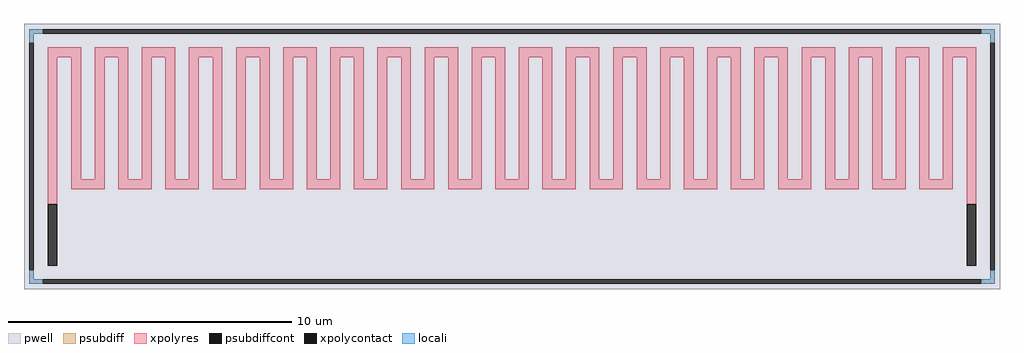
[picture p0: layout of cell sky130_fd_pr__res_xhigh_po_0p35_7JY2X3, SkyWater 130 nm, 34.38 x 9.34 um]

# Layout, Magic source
magic
tech sky130A
<< pwell >>
rect -1719 -467 1719 467
<< psubdiff >>
rect -1701 432 -1653 449
rect 1653 432 1701 449
rect -1701 401 -1684 432
rect 1684 401 1701 432
rect -1701 -432 -1684 -401
rect 1684 -432 1701 -401
rect -1701 -449 -1653 -432
rect 1653 -449 1701 -432
<< psubdiffcont >>
rect -1653 432 1653 449
rect -1701 -401 -1684 401
rect 1684 -401 1701 401
rect -1653 -449 1653 -432
<< xpolycontact >>
rect -1636 -384 -1601 -168
rect 1601 -384 1636 -168
<< xpolyres >>
rect -1636 349 -1518 384
rect -1636 -168 -1601 349
rect -1553 -81 -1518 349
rect -1470 349 -1352 384
rect -1470 -81 -1435 349
rect -1553 -116 -1435 -81
rect -1387 -81 -1352 349
rect -1304 349 -1186 384
rect -1304 -81 -1269 349
rect -1387 -116 -1269 -81
rect -1221 -81 -1186 349
rect -1138 349 -1020 384
rect -1138 -81 -1103 349
rect -1221 -116 -1103 -81
rect -1055 -81 -1020 349
rect -972 349 -854 384
rect -972 -81 -937 349
rect -1055 -116 -937 -81
rect -889 -81 -854 349
rect -806 349 -688 384
rect -806 -81 -771 349
rect -889 -116 -771 -81
rect -723 -81 -688 349
rect -640 349 -522 384
rect -640 -81 -605 349
rect -723 -116 -605 -81
rect -557 -81 -522 349
rect -474 349 -356 384
rect -474 -81 -439 349
rect -557 -116 -439 -81
rect -391 -81 -356 349
rect -308 349 -190 384
rect -308 -81 -273 349
rect -391 -116 -273 -81
rect -225 -81 -190 349
rect -142 349 -24 384
rect -142 -81 -107 349
rect -225 -116 -107 -81
rect -59 -81 -24 349
rect 24 349 142 384
rect 24 -81 59 349
rect -59 -116 59 -81
rect 107 -81 142 349
rect 190 349 308 384
rect 190 -81 225 349
rect 107 -116 225 -81
rect 273 -81 308 349
rect 356 349 474 384
rect 356 -81 391 349
rect 273 -116 391 -81
rect 439 -81 474 349
rect 522 349 640 384
rect 522 -81 557 349
rect 439 -116 557 -81
rect 605 -81 640 349
rect 688 349 806 384
rect 688 -81 723 349
rect 605 -116 723 -81
rect 771 -81 806 349
rect 854 349 972 384
rect 854 -81 889 349
rect 771 -116 889 -81
rect 937 -81 972 349
rect 1020 349 1138 384
rect 1020 -81 1055 349
rect 937 -116 1055 -81
rect 1103 -81 1138 349
rect 1186 349 1304 384
rect 1186 -81 1221 349
rect 1103 -116 1221 -81
rect 1269 -81 1304 349
rect 1352 349 1470 384
rect 1352 -81 1387 349
rect 1269 -116 1387 -81
rect 1435 -81 1470 349
rect 1518 349 1636 384
rect 1518 -81 1553 349
rect 1435 -116 1553 -81
rect 1601 -168 1636 349
<< locali >>
rect -1701 432 -1653 449
rect 1653 432 1701 449
rect -1701 401 -1684 432
rect 1684 401 1701 432
rect -1701 -432 -1684 -401
rect 1684 -432 1701 -401
rect -1701 -449 -1653 -432
rect 1653 -449 1701 -432
<< properties >>
string FIXED_BBOX -1692 -440 1692 440
string gencell sky130_fd_pr__res_xhigh_po_0p35
string library sky130
string parameters w 0.35 l 5 m 1 nx 40 wmin 0.350 lmin 0.50 rho 2000 val 1.221meg dummy 0 dw 0.0 term 188.2 sterm 0.0 caplen 0 wmax 0.350 guard 1 glc 1 grc 1 gtc 1 gbc 1 compatible {sky130_fd_pr__res_xhigh_po_0p35  sky130_fd_pr__res_xhigh_po_0p69 sky130_fd_pr__res_xhigh_po_1p41  sky130_fd_pr__res_xhigh_po_2p85 sky130_fd_pr__res_xhigh_po_5p73} snake 1 full_metal 1 n_guard 0 hv_guard 0 vias 1 viagb 0 viagt 0 viagl 0 viagr 0
<< end >>
